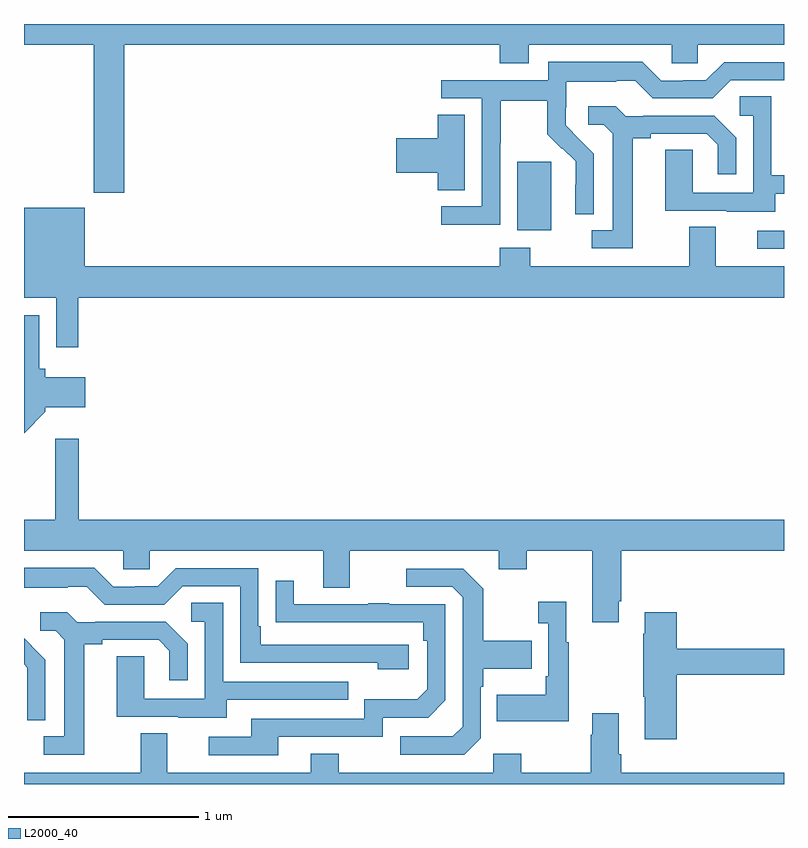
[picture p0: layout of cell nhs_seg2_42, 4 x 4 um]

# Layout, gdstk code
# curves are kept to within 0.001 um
import gdstk
lib = gdstk.Library(unit=1e-6, precision=1e-09)
def R(c, l, rs):  # rectangles x0, y0, x1, y1
    for r in rs: c.add(gdstk.rectangle(r[:2], r[2:], *l))
def P(c, l, *ps):  # polygons
    for p in ps: c.add(gdstk.Polygon(p, *l))
L2000_40 = (2000, 40)

nhs_seg2_42 = lib.new_cell('nhs_seg2_42')
R(nhs_seg2_42, L2000_40, [(116.859,590.616,117,590.712), (115.595,590.714,115.774,591.075)])
P(nhs_seg2_42, L2000_40, [(113.528,591.692),(115.505,591.692),(115.505,591.593),(115.657,591.593),(115.657,591.692),(116.409,591.692),(116.409,591.594),(116.547,591.594),(116.547,591.692),(117,591.692),(117,591.8),(113,591.8),(113,591.692),(113.368,591.692),(113.368,590.913),(113.528,590.913)],
  [(115.506,591.172),(115.509,591.172),(115.509,591.396),(115.753,591.396),(115.753,591.221),(115.83,591.144),(115.833,591.147),(115.904,591.077),(115.904,590.954),(115.902,590.954),(115.902,590.8),(115.998,590.8),(115.998,591.118),(115.852,591.266),(115.852,591.363),(115.854,591.363),(115.854,591.497),(116.117,591.497),(116.117,591.501),(116.217,591.501),(116.31,591.408),(116.625,591.408),(116.721,591.504),(117,591.504),(117,591.6),(116.685,591.6),(116.589,591.504),(116.471,591.504),(116.471,591.501),(116.355,591.501),(116.255,591.601),(115.758,591.601),(115.758,591.504),(115.197,591.504),(115.197,591.408),(115.41,591.408),(115.41,590.841),(115.197,590.841),(115.197,590.743),(115.506,590.743)],
  [(116.953,590.907),(117,590.907),(117,591.003),(116.934,591.003),(116.934,591.419),(116.766,591.419),(116.766,591.318),(116.838,591.318),(116.838,590.913),(116.52,590.913),(116.52,591.137),(116.375,591.137),(116.375,590.817),(116.699,590.817),(116.699,590.813),(116.953,590.813)],
  [(116.203,591.2),(116.299,591.2),(116.299,591.222),(116.594,591.222),(116.651,591.165),(116.651,591.009),(116.748,591.009),(116.748,591.202),(116.632,591.318),(116.26,591.318),(116.26,591.315),(116.166,591.315),(116.114,591.367),(115.971,591.367),(115.971,591.27),(116.052,591.27),(116.099,591.223),(116.099,590.715),(115.989,590.715),(115.989,590.619),(116.203,590.619)],
  [(115.321,591.323),(115.178,591.323),(115.178,591.2),(114.96,591.2),(114.96,591.017),(115.178,591.017),(115.178,590.926),(115.321,590.926)],
  [(113.285,590.36),(117,590.36),(117,590.524),(116.641,590.524),(116.641,590.732),(116.501,590.732),(116.501,590.524),(115.665,590.524),(115.665,590.623),(115.505,590.623),(115.505,590.524),(113.32,590.524),(113.32,590.833),(113,590.833),(113,590.36),(113.169,590.36),(113.169,590.1),(113.285,590.1)],
  [(113.111,589.758),(113.111,589.784),(113.323,589.784),(113.323,589.942),(113.111,589.942),(113.111,589.986),(113.08,589.986),(113.08,590.266),(113,590.266),(113,589.647)],
  [(116.131,588.763),(116.144,588.763),(116.144,589.028),(117,589.028),(117,589.192),(113.288,589.192),(113.288,589.618),(113.165,589.618),(113.165,589.192),(113,589.192),(113,589.028),(113.523,589.028),(113.523,588.93),(113.661,588.93),(113.661,589.028),(114.575,589.028),(114.575,588.834),(114.715,588.834),(114.715,589.028),(115.499,589.028),(115.499,588.929),(115.647,588.929),(115.647,589.028),(115.991,589.028),(115.991,588.651),(116.131,588.651)],
  [(115.024,588.534),(114.247,588.534),(114.247,588.631),(114.234,588.631),(114.234,588.936),(113.799,588.936),(113.703,588.84),(113.585,588.84),(113.585,588.837),(113.469,588.837),(113.369,588.937),(113,588.937),(113,588.833),(113.231,588.833),(113.231,588.837),(113.331,588.837),(113.424,588.744),(113.739,588.744),(113.835,588.84),(114.138,588.84),(114.138,588.438),(114.863,588.438),(114.863,588.404),(115.024,588.404)],
  [(115.404,588.042),(115.404,588.311),(115.417,588.311),(115.417,588.407),(115.673,588.407),(115.673,588.555),(115.417,588.555),(115.417,588.827),(115.311,588.933),(115.011,588.933),(115.011,588.837),(115.254,588.837),(115.308,588.783),(115.308,588.102),(115.257,588.051),(114.981,588.051),(114.981,587.955),(115.317,587.955)],
  [(114.337,588.048),(114.888,588.048),(114.888,588.15),(115.128,588.15),(115.218,588.24),(115.218,588.747),(114.923,588.747),(114.923,588.752),(114.811,588.752),(114.811,588.747),(114.421,588.747),(114.421,588.871),(114.325,588.871),(114.325,588.652),(115.102,588.651),(115.102,588.554),(115.122,588.554),(115.122,588.3),(115.069,588.247),(114.792,588.247),(114.792,588.144),(114.197,588.144),(114.197,588.048),(113.973,588.048),(113.973,587.952),(114.337,587.952)],
  [(115.867,588.547),(115.855,588.547),(115.855,588.76),(115.707,588.76),(115.707,588.647),(115.758,588.647),(115.758,588.367),(115.746,588.367),(115.746,588.271),(115.489,588.271),(115.489,588.131),(115.867,588.131)],
  [(114.067,588.243),(114.707,588.243),(114.707,588.339),(114.048,588.339),(114.048,588.755),(113.88,588.755),(113.88,588.654),(113.952,588.654),(113.952,588.249),(113.634,588.249),(113.634,588.473),(113.489,588.473),(113.489,588.153),(113.813,588.153),(113.813,588.149),(114.067,588.149)],
  [(116.435,588.376),(117,588.376),(117,588.512),(116.435,588.512),(116.435,588.703),(116.267,588.703),(116.267,588.59),(116.26,588.59),(116.26,588.259),(116.267,588.259),(116.267,588.036),(116.435,588.036)],
  [(113.317,588.536),(113.413,588.536),(113.413,588.558),(113.708,588.558),(113.765,588.501),(113.765,588.345),(113.862,588.345),(113.862,588.538),(113.746,588.654),(113.374,588.654),(113.374,588.651),(113.28,588.651),(113.228,588.703),(113.085,588.703),(113.085,588.606),(113.166,588.606),(113.213,588.559),(113.213,588.051),(113.103,588.051),(113.103,587.955),(113.317,587.955)],
  [(113.112,588.454),(113.039,588.527),(113.04,588.528),(113,588.568),(113,588.431),(113.018,588.413),(113.018,588.29),(113.016,588.29),(113.016,588.136),(113.112,588.136)],
  [(117,587.86),(116.144,587.86),(116.144,587.956),(116.131,587.956),(116.131,588.172),(115.991,588.172),(115.991,588.059),(115.984,588.059),(115.984,587.86),(115.617,587.86),(115.617,587.959),(115.47,587.959),(115.47,587.86),(114.657,587.86),(114.657,587.959),(114.509,587.959),(114.509,587.86),(113.755,587.86),(113.755,588.068),(113.615,588.068),(113.615,587.86),(113,587.86),(113,587.8),(117,587.8)])

lib.write_gds('nhs_seg2_42.gds')
